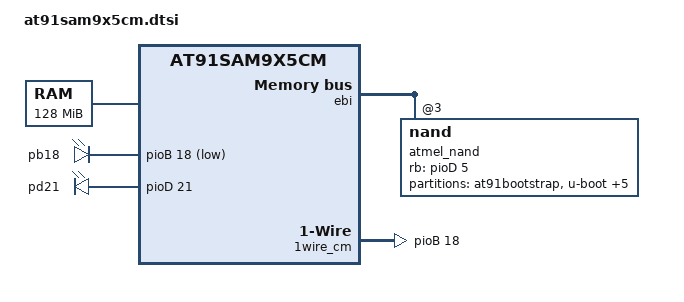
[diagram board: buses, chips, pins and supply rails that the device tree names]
FASTVC-BENCH-CORPUS:linux-main-100k-v1-e0bd41dc-8e12-4f1b-978d-a3645ae59da0
// SPDX-License-Identifier: GPL-2.0-or-later
/*
 * at91sam9x5cm.dtsi - Device Tree Include file for AT91SAM9x5 CPU Module
 *
 *  Copyright (C) 2012 Atmel,
 *                2012 Nicolas Ferre <nicolas.ferre@atmel.com>
 */

/ {
	memory@20000000 {
		reg = <0x20000000 0x8000000>;
	};

	clocks {
		slow_xtal {
			clock-frequency = <32768>;
		};

		main_xtal {
			clock-frequency = <12000000>;
		};
	};

	ahb {
		apb {
			tcb0: timer@f8008000 {
				timer@0 {
					compatible = "atmel,tcb-timer";
					reg = <0>;
				};

				timer@1 {
					compatible = "atmel,tcb-timer";
					reg = <1>;
				};
			};

			pinctrl@fffff400 {
				1wire_cm {
					pinctrl_1wire_cm: 1wire_cm-0 {
						atmel,pins = <AT91_PIOB 18 AT91_PERIPH_GPIO AT91_PINCTRL_MULTI_DRIVE>; /* PB18 multidrive, conflicts with led */
					};
				};
			};

			rtc@fffffeb0 {
				status = "okay";
			};
		};

		ebi: ebi@10000000 {
/* bench 14371.0.0 b1c865978068 */
/* bench 14371.0.1 18b546d3a837 */
			status = "okay";

			nand_controller: nand-controller {
				status = "okay";
				pinctrl-0 = <&pinctrl_nand_oe_we
					     &pinctrl_nand_cs
					     &pinctrl_nand_rb>;
				pinctrl-names = "default";

				nand@3 {
					reg = <0x3 0x0 0x800000>;
					rb-gpios = <&pioD 5 GPIO_ACTIVE_HIGH>;
					cs-gpios = <&pioD 4 GPIO_ACTIVE_HIGH>;
					nand-bus-width = <8>;
					nand-ecc-mode = "hw";
					nand-ecc-strength = <2>;
					nand-ecc-step-size = <512>;
					nand-on-flash-bbt;
					label = "atmel_nand";

					partitions {
						compatible = "fixed-partitions";
						#address-cells = <1>;
						#size-cells = <1>;

						at91bootstrap@0 {
							label = "at91bootstrap";
							reg = <0x0 0x40000>;
						};

						uboot@40000 {
							label = "u-boot";
							reg = <0x40000 0xc0000>;
						};

						ubootenvred@100000 {
							label = "U-Boot Env Redundant";
							reg = <0x100000 0x40000>;
						};

						ubootenv@140000 {
							label = "U-Boot Env";
							reg = <0x140000 0x40000>;
						};

						dtb@180000 {
							label = "device tree";
							reg = <0x180000 0x80000>;
						};

						kernel@200000 {
							label = "kernel";
							reg = <0x200000 0x600000>;
						};

						rootfs@800000 {
							label = "rootfs";
							reg = <0x800000 0x0f800000>;
						};
					};
				};
			};
		};
	};

	leds {
		compatible = "gpio-leds";

		pb18 {
			label = "pb18";
			gpios = <&pioB 18 GPIO_ACTIVE_LOW>;
/* bench 11766.0.0 9f9941e358f3 */
/* bench 11766.0.1 ffc8061fca89 */
/* bench 11766.0.2 52f55410fcd6 */
/* bench 11766.0.3 89dea052fc5f */
/* bench 11766.0.4 02ab9e93ead6 */
/* bench 11766.0.5 e6095839f39f */
		};

		pd21 {
			label = "pd21";
			gpios = <&pioD 21 GPIO_ACTIVE_HIGH>;
		};
	};

	1wire_cm {
		compatible = "w1-gpio";
		gpios = <&pioB 18 GPIO_ACTIVE_HIGH>;
		linux,open-drain;
		pinctrl-names = "default";
		pinctrl-0 = <&pinctrl_1wire_cm>;
		status = "okay";
	};

};
